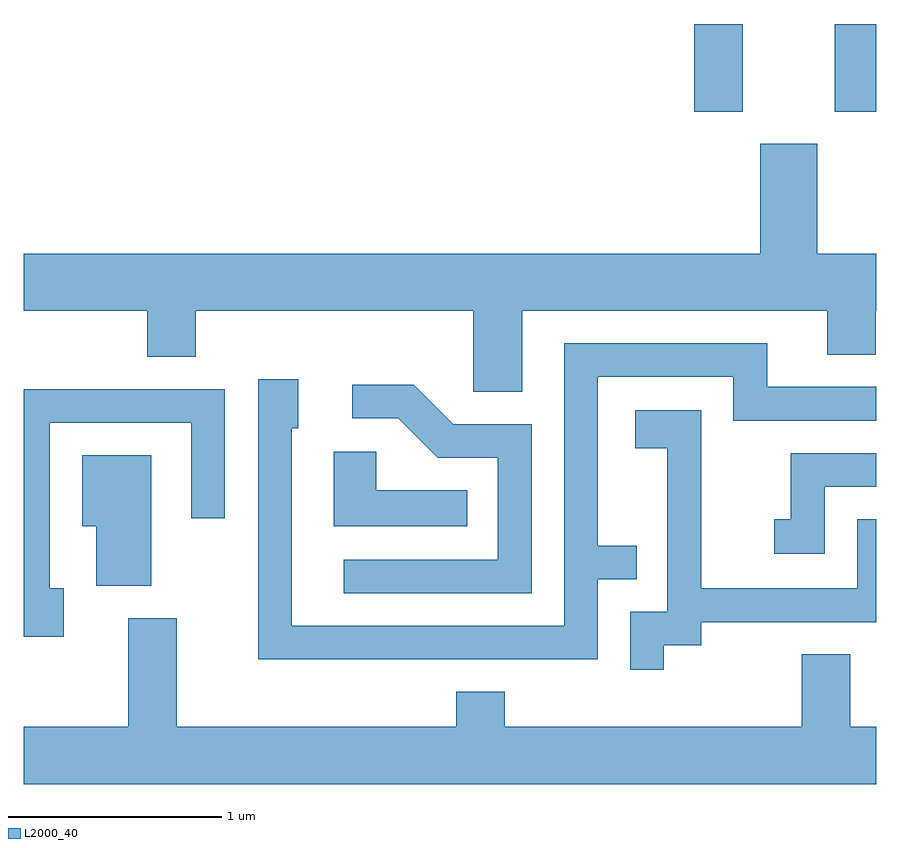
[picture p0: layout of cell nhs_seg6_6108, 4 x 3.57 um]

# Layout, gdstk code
import gdstk
lib = gdstk.Library(unit=1e-6, precision=1e-09)
def R(c, l, rs):  # rectangles x0, y0, x1, y1
    for r in rs: c.add(gdstk.rectangle(r[:2], r[2:], *l))
def P(c, l, *ps):  # polygons
    for p in ps: c.add(gdstk.Polygon(p, *l))
L2000_40 = (2000, 40)

nhs_seg6_6108 = lib.new_cell('nhs_seg6_6108')
R(nhs_seg6_6108, L2000_40, [(372.756,1659.751,372.984,1660.162), (373.416,1659.751,373.611,1660.162)])
P(nhs_seg6_6108, L2000_40, [(371.949,1658.816),(373.381,1658.816),(373.381,1658.611),(373.609,1658.611),(373.609,1658.816),(373.611,1658.816),(373.611,1659.084),(373.334,1659.084),(373.334,1659.599),(373.066,1659.599),(373.066,1659.084),(369.611,1659.084),(369.611,1658.816),(370.191,1658.816),(370.191,1658.601),(370.419,1658.601),(370.419,1658.816),(371.721,1658.816),(371.721,1658.436),(371.949,1658.436)],
  [(372.304,1657.556),(372.488,1657.556),(372.488,1657.714),(372.304,1657.714),(372.304,1658.506),(372.941,1658.506),(372.941,1658.301),(373.611,1658.301),(373.611,1658.459),(373.099,1658.459),(373.099,1658.664),(372.146,1658.664),(372.146,1657.339),(370.869,1657.339),(370.869,1658.266),(370.899,1658.266),(370.899,1658.494),(370.711,1658.494),(370.711,1657.181),(372.304,1657.181)],
  [(371.994,1658.284),(371.627,1658.284),(371.442,1658.469),(371.153,1658.469),(371.153,1658.311),(371.369,1658.311),(371.554,1658.126),(371.836,1658.126),(371.836,1657.649),(371.113,1657.649),(371.113,1657.491),(371.994,1657.491)],
  [(369.799,1657.514),(369.734,1657.514),(369.734,1658.291),(370.396,1658.291),(370.396,1657.843),(370.554,1657.843),(370.554,1658.449),(369.611,1658.449),(369.611,1657.286),(369.799,1657.286)],
  [(372.614,1657.246),(372.789,1657.246),(372.789,1657.356),(373.611,1657.356),(373.611,1657.839),(373.521,1657.839),(373.521,1657.514),(372.789,1657.514),(372.789,1658.349),(372.481,1658.349),(372.481,1658.171),(372.631,1658.171),(372.631,1657.404),(372.456,1657.404),(372.456,1657.133),(372.614,1657.133)],
  [(371.693,1657.974),(371.264,1657.974),(371.264,1658.154),(371.066,1658.154),(371.066,1657.806),(371.693,1657.806)],
  [(373.369,1657.991),(373.611,1657.991),(373.611,1658.149),(373.211,1658.149),(373.211,1657.839),(373.133,1657.839),(373.133,1657.676),(373.369,1657.676)],
  [(370.209,1658.139),(369.886,1658.139),(369.886,1657.806),(369.951,1657.806),(369.951,1657.526),(370.209,1657.526)],
  [(373.611,1656.864),(373.489,1656.864),(373.489,1657.204),(373.261,1657.204),(373.261,1656.864),(371.869,1656.864),(371.869,1657.029),(371.641,1657.029),(371.641,1656.864),(370.329,1656.864),(370.329,1657.374),(370.101,1657.374),(370.101,1656.864),(369.611,1656.864),(369.611,1656.596),(373.611,1656.596)])

lib.write_gds('nhs_seg6_6108.gds')
